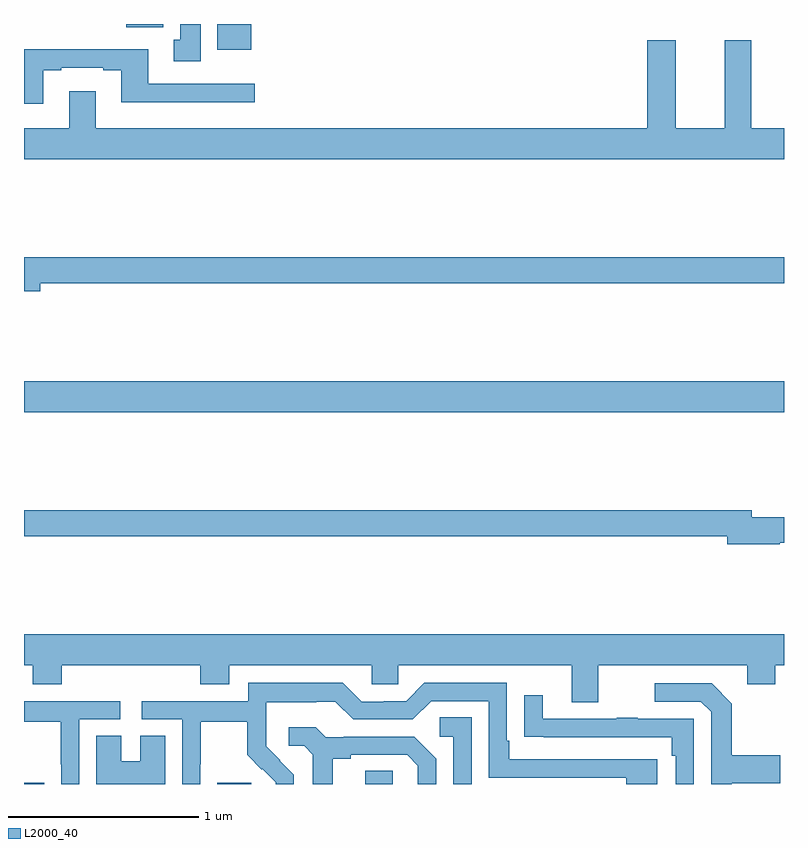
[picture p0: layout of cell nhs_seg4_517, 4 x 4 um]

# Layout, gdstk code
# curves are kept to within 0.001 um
import gdstk
lib = gdstk.Library(unit=1e-6, precision=1e-09)
def R(c, l, rs):  # rectangles x0, y0, x1, y1
    for r in rs: c.add(gdstk.rectangle(r[:2], r[2:], *l))
def P(c, l, *ps):  # polygons
    for p in ps: c.add(gdstk.Polygon(p, *l))
L2000_40 = (2000, 40)

nhs_seg4_517 = lib.new_cell('nhs_seg4_517')
R(nhs_seg4_517, L2000_40, [(137,758.9,137.107,758.907), (138.017,758.9,138.196,758.907), (138.797,758.9,138.942,758.969), (137,760.856,141,761.02), (138.017,762.764,138.196,762.9), (137.537,762.884,137.734,762.9)])
P(nhs_seg4_517, L2000_40, [(137.929,762.9),(137.822,762.9),(137.822,762.818),(137.789,762.818),(137.789,762.705),(137.929,762.705)],
  [(141,762.352),(140.827,762.352),(140.827,762.814),(140.687,762.814),(140.687,762.352),(140.431,762.352),(140.431,762.814),(140.279,762.814),(140.279,762.352),(137.377,762.352),(137.377,762.547),(137.237,762.547),(137.237,762.352),(137,762.352),(137,762.188),(141,762.188)],
  [(137.101,762.657),(137.197,762.657),(137.197,762.669),(137.417,762.669),(137.417,762.657),(137.513,762.657),(137.513,762.488),(138.214,762.488),(138.214,762.585),(137.653,762.585),(137.653,762.766),(137,762.766),(137,762.48),(137.101,762.48)],
  [(137.086,761.536),(141,761.536),(141,761.672),(137,761.672),(137,761.494),(137.086,761.494)],
  [(140.978,760.169),(141,760.169),(141,760.304),(140.83,760.304),(140.83,760.34),(137,760.34),(137,760.204),(140.702,760.204),(140.702,760.162),(140.978,760.162)],
  [(140.023,759.524),(140.807,759.524),(140.807,759.425),(140.955,759.425),(140.955,759.524),(141,759.524),(141,759.688),(137,759.688),(137,759.524),(137.045,759.524),(137.045,759.425),(137.198,759.425),(137.198,759.524),(137.927,759.524),(137.927,759.425),(138.079,759.425),(138.079,759.524),(138.831,759.524),(138.831,759.426),(138.969,759.426),(138.969,759.524),(139.883,759.524),(139.883,759.33),(140.023,759.33)],
  [(137.928,759.004),(137.931,759.004),(137.931,759.228),(138.175,759.228),(138.175,759.053),(138.252,758.976),(138.255,758.979),(138.326,758.909),(138.326,758.9),(138.42,758.9),(138.42,758.95),(138.274,759.098),(138.274,759.195),(138.276,759.195),(138.276,759.329),(138.539,759.329),(138.539,759.333),(138.639,759.333),(138.732,759.24),(139.047,759.24),(139.143,759.336),(139.446,759.336),(139.446,758.934),(140.171,758.934),(140.171,758.9),(140.332,758.9),(140.332,759.03),(139.555,759.03),(139.555,759.127),(139.542,759.127),(139.542,759.432),(139.107,759.432),(139.011,759.336),(138.893,759.336),(138.893,759.333),(138.777,759.333),(138.677,759.433),(138.18,759.433),(138.18,759.336),(137.619,759.336),(137.619,759.24),(137.832,759.24),(137.832,758.9),(137.928,758.9)],
  [(140.725,758.903),(140.981,758.903),(140.981,759.051),(140.725,759.051),(140.725,759.323),(140.619,759.429),(140.319,759.429),(140.319,759.333),(140.562,759.333),(140.616,759.279),(140.616,758.9),(140.725,758.9)],
  [(140.526,759.243),(140.231,759.243),(140.231,759.248),(140.119,759.248),(140.119,759.243),(139.729,759.243),(139.729,759.367),(139.633,759.367),(139.633,759.148),(139.735,759.148),(139.735,759.147),(140.41,759.147),(140.41,759.05),(140.43,759.05),(140.43,758.9),(140.526,758.9)],
  [(137.292,759.24),(137.506,759.24),(137.506,759.336),(137,759.336),(137,759.228),(137.194,759.228),(137.194,759.004),(137.196,759.004),(137.196,758.9),(137.292,758.9)],
  [(139.356,759.251),(139.188,759.251),(139.188,759.15),(139.26,759.15),(139.26,758.9),(139.356,758.9)],
  [(138.625,759.032),(138.721,759.032),(138.721,759.054),(139.016,759.054),(139.073,758.997),(139.073,758.9),(139.17,758.9),(139.17,759.034),(139.054,759.15),(138.682,759.15),(138.682,759.147),(138.588,759.147),(138.536,759.199),(138.393,759.199),(138.393,759.102),(138.474,759.102),(138.521,759.055),(138.521,758.9),(138.625,758.9)],
  [(137.743,759.155),(137.612,759.155),(137.612,759.019),(137.512,759.019),(137.512,759.155),(137.381,759.155),(137.381,758.9),(137.743,758.9)])

lib.write_gds('nhs_seg4_517.gds')
